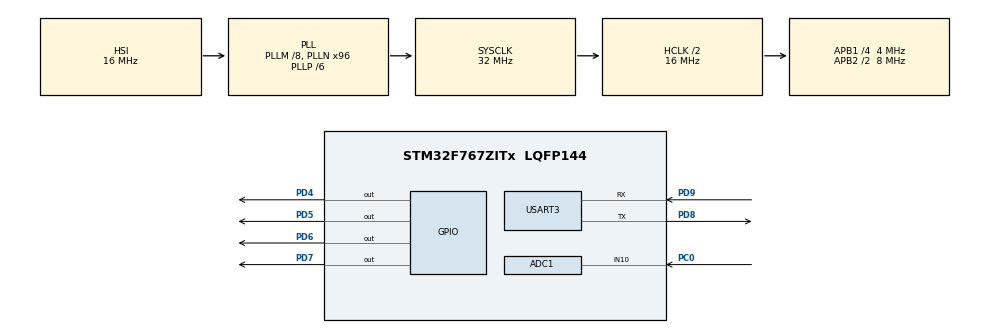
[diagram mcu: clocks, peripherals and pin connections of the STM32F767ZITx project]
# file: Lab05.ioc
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ADC1.Channel-0\#ChannelRegularConversion=ADC_CHANNEL_10
ADC1.ContinuousConvMode=ENABLE
ADC1.EOCSelection=ADC_EOC_SEQ_CONV
ADC1.NbrOfConversionFlag=1
ADC1.Rank-0\#ChannelRegularConversion=1
ADC1.SamplingTime-0\#ChannelRegularConversion=ADC_SAMPLETIME_3CYCLES
ADC1.master=1
Mcu.Family=STM32F7
Mcu.Name=STM32F767ZITx
Mcu.Package=LQFP144
NVIC.PriorityGroup=NVIC_PRIORITYGROUP_4
PC0.Signal=ADCx_IN10
PD4.Signal=GPIO_Output
PD5.Signal=GPIO_Output
PD6.Signal=GPIO_Output
PD7.Signal=GPIO_Output
PD8.Mode=Asynchronous
PD8.Signal=USART3_TX
PD9.Mode=Asynchronous
PD9.Signal=USART3_RX
ProjectManager.HeapSize=0x200
ProjectManager.StackSize=0x400
ProjectManager.TargetToolchain=STM32CubeIDE
RCC.AHBCLKDivider=RCC_SYSCLK_DIV2
RCC.AHBFreq_Value=16000000
RCC.APB1CLKDivider=RCC_HCLK_DIV4
RCC.APB1Freq_Value=4000000
RCC.APB1TimFreq_Value=8000000
RCC.APB2CLKDivider=RCC_HCLK_DIV2
RCC.APB2Freq_Value=8000000
RCC.APB2TimFreq_Value=16000000
RCC.CortexFreq_Value=16000000
RCC.HCLKFreq_Value=16000000
RCC.HSE_VALUE=25000000
RCC.HSI_VALUE=16000000
RCC.LSE_VALUE=32768
RCC.PLLM=8
RCC.PLLN=96
RCC.PLLP=RCC_PLLP_DIV6
RCC.SYSCLKFreq_VALUE=32000000
RCC.SYSCLKSource=RCC_SYSCLKSOURCE_PLLCLK
RCC.USBFreq_Value=96000000
RCC.VCOOutputFreq_Value=192000000
SH.ADCx_IN10.0=ADC1_IN10,IN10
USART3.VirtualMode-Asynchronous=VM_ASYNC
board=custom

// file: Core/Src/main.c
/* USER CODE BEGIN Header */
/**
  ******************************************************************************
  * @file           : main.c
  * @brief          : Main program body
  ******************************************************************************
  * @attention
  *
  * Copyright (c) 2023 STMicroelectronics.
  * All rights reserved.
  *
  * This software is licensed under terms that can be found in the LICENSE file
  * in the root directory of this software component.
  * If no LICENSE file comes with this software, it is provided AS-IS.
  *
  ******************************************************************************
  */
/* USER CODE END Header */
#include "main.h"
#include "adc.h"
#include "usart.h"
#include "gpio.h"

/* USER CODE BEGIN PV */
volatile uint32_t adc_val = 0;
uint32_t hex1 = 501;
char str [100];
char x[100];
int avg_8=0 ;
int avg_16=0 ;
/* USER CODE END PV */

void SystemClock_Config(void);

/* USER CODE BEGIN 0 */
int average_8(int x){
	static int samples[8];
	static int i = 0;
	static int total =0;

	total += x - samples[i];
	samples[i] = x;
	i = (i == 7 ? 0 : i+1);
	return total>>3;
}
int average_16(int x){
	static int samples[16];
	static int i = 0;
	static int total =0;

	total += x - samples[i];
	samples[i] = x;
	i = (i == 15 ? 0 : i+1);
	return total>>4;
}
/* USER CODE END 0 */

int main(void)
{

  /* MCU Configuration--------------------------------------------------------*/

  /* Reset of all peripherals, Initializes the Flash interface and the Systick. */
  HAL_Init();

  /* Configure the system clock */
  SystemClock_Config();

  /* Initialize all configured peripherals */
  MX_GPIO_Init();
  MX_ADC1_Init();
  MX_USART3_UART_Init();

  /* Infinite loop */
  /* USER CODE BEGIN WHILE */
  HAL_ADC_Start(&hadc1);
  while (1)
  {
    /* USER CODE END WHILE */

    /* USER CODE BEGIN 3 */
//	  ข้อ1
//	  char str1[] ="\r\n";
//	  displayHEX(hex1);
//	  HAL_UART_Transmit(&huart3, (uint32_t *)&str, 12, 100);
//	  HAL_UART_Transmit(&huart3, (uint8_t*)str1, strlen(str1), 1000);
//  	  	HAL_Delay(200);
//	  ข้อ3-4
	  char str1[] ="\r\n";
	  while (HAL_ADC_PollForConversion(&hadc1, 100) != HAL_OK){}
	  adc_val = HAL_ADC_GetValue(&hadc1);
	  displayHEX(adc_val);
	  HAL_UART_Transmit(&huart3, (uint32_t*)&str, 100, 100);
	  HAL_UART_Transmit(&huart3, (uint8_t*)str1, strlen(str1), 1000);
	  HAL_UART_Transmit(&huart3, (uint32_t*)&x, 100, 100);
	  HAL_UART_Transmit(&huart3, (uint8_t*)str1, strlen(str1), 1000);
	  avg_8 = average_8(adc_val);
	  avg_16 = average_16(adc_val);
	  HAL_GPIO_WritePin(GPIOD, GPIO_PIN_7, GPIO_PIN_SET);
	  HAL_GPIO_WritePin(GPIOD, GPIO_PIN_6, GPIO_PIN_SET);
	  HAL_GPIO_WritePin(GPIOD, GPIO_PIN_5, GPIO_PIN_SET);
	  HAL_GPIO_WritePin(GPIOD, GPIO_PIN_4, GPIO_PIN_SET);

	  if (adc_val >= 820) {
	      if (adc_val <= 1638) {
	          HAL_GPIO_WritePin(GPIOD, GPIO_PIN_7, GPIO_PIN_RESET);
	      } else if (adc_val <= 2457) {
	          HAL_GPIO_WritePin(GPIOD, GPIO_PIN_7|GPIO_PIN_6, GPIO_PIN_RESET);
	      } else if (adc_val <= 3276) {
	          HAL_GPIO_WritePin(GPIOD, GPIO_PIN_7|GPIO_PIN_6|GPIO_PIN_5, GPIO_PIN_RESET);
	      } else if (adc_val <= 4095) {
	          HAL_GPIO_WritePin(GPIOD, GPIO_PIN_7|GPIO_PIN_6|GPIO_PIN_5|GPIO_PIN_4, GPIO_PIN_RESET);
	      }
	  }

	  HAL_Delay(200);
  }
  /* USER CODE END 3 */
}

void SystemClock_Config(void)
{
  RCC_OscInitTypeDef RCC_OscInitStruct = {0};
  RCC_ClkInitTypeDef RCC_ClkInitStruct = {0};

  /** Configure the main internal regulator output voltage
  */
  __HAL_RCC_PWR_CLK_ENABLE();
  __HAL_PWR_VOLTAGESCALING_CONFIG(PWR_REGULATOR_VOLTAGE_SCALE3);

  /** Initializes the RCC Oscillators according to the specified parameters
  * in the RCC_OscInitTypeDef structure.
  */
  RCC_OscInitStruct.OscillatorType = RCC_OSCILLATORTYPE_HSI;
  RCC_OscInitStruct.HSIState = RCC_HSI_ON;
  RCC_OscInitStruct.HSICalibrationValue = RCC_HSICALIBRATION_DEFAULT;
  RCC_OscInitStruct.PLL.PLLState = RCC_PLL_ON;
  RCC_OscInitStruct.PLL.PLLSource = RCC_PLLSOURCE_HSI;
  RCC_OscInitStruct.PLL.PLLM = 8;
  RCC_OscInitStruct.PLL.PLLN = 96;
  RCC_OscInitStruct.PLL.PLLP = RCC_PLLP_DIV6;
  RCC_OscInitStruct.PLL.PLLQ = 2;
  RCC_OscInitStruct.PLL.PLLR = 2;
  if (HAL_RCC_OscConfig(&RCC_OscInitStruct) != HAL_OK)
  {
    Error_Handler();
  }

  /** Initializes the CPU, AHB and APB buses clocks
  */
  RCC_ClkInitStruct.ClockType = RCC_CLOCKTYPE_HCLK|RCC_CLOCKTYPE_SYSCLK
                              |RCC_CLOCKTYPE_PCLK1|RCC_CLOCKTYPE_PCLK2;
  RCC_ClkInitStruct.SYSCLKSource = RCC_SYSCLKSOURCE_PLLCLK;
  RCC_ClkInitStruct.AHBCLKDivider = RCC_SYSCLK_DIV2;
  RCC_ClkInitStruct.APB1CLKDivider = RCC_HCLK_DIV4;
  RCC_ClkInitStruct.APB2CLKDivider = RCC_HCLK_DIV2;

  if (HAL_RCC_ClockConfig(&RCC_ClkInitStruct, FLASH_LATENCY_0) != HAL_OK)
  {
    Error_Handler();
  }
}

/* USER CODE BEGIN 4 */
void displayHEX(uint32_t hex1){
	float v = (hex1 * 3.3)/4095;
	sprintf (str,"ADC1_CH10 0x%08x Vin = %.2f v",hex1,v);
	sprintf (x,"0x%08x",hex1);
}

/* USER CODE END 4 */

void Error_Handler(void)
{
  __disable_irq();
  while (1)
  {
  }
}
